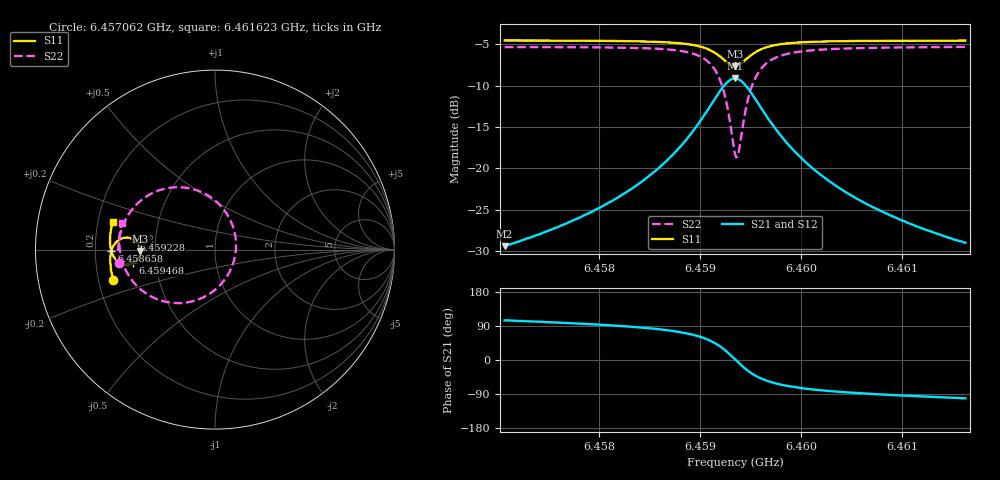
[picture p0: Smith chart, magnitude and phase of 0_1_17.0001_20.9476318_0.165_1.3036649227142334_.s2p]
#  HZ  S  RI  R  50.00
! Rohde & Schwarz Vector Network Analyzer
! Rohde-Schwarz,ZNB20-2Port,1311601062101988,3.16
! Created: UTC 3/20/2024, 10:52:01 PM
! freq[Hz]  re:S11  im:S11  re:S21  im:S21  re:S12  im:S12  re:S22  im:S22
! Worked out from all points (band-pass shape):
!   401 points, 6.457062 GHz to 6.461623 GHz, reference 50 ohm
!   highest |S21| = -9.14 dB at 6.459342 GHz (marker M1); lowest = -29.4 dB at 6.457062 GHz (marker M2)
!   |S21| within 3 dB of the highest: 6.459114 GHz to 6.45957 GHz (456.4 kHz wide, 0.00707 % of centre)
!   lowest |S11| = -7.6 dB at 6.459342 GHz (marker M3), VSWR 2.42, Z = 20.6 - j0.395 ohm
!   |S11| at or under -10 dB: nowhere
!   |S22| runs from -18.7 to -5.3 dB; largest |S21 - S12| = 0.014
!   S11 on the Smith chart (normalised r, x): 6.457062 GHz: 0.26, -0.13; 6.458658 GHz: 0.27, -0.01; 6.459228 GHz: 0.38, +0.05; 6.459468 GHz: 0.37, -0.07; 6.461623 GHz: 0.26, +0.12
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6.4570618e9  -0.5678 -0.167  -0.00853 0.0328  -0.00683 0.0328  -0.5344 -0.0769
6.4578258e9  -0.5811 -0.0998  -0.00499 0.051  -0.00249 0.0503  -0.5386 0.013
6.4582248e9  -0.5836 -0.0599  0.0006 0.0693  0.00376 0.0679  -0.5303 0.0761
6.4585897e9  -0.5795 -0.0163  0.0155 0.0996  0.0194 0.0968  -0.5027 0.158
6.4586581e9  -0.5771 -0.00675  0.0209 0.108  0.025 0.1047  -0.4924 0.1782
6.4588519e9  -0.5642 0.0237  0.048 0.1391  0.0519 0.134  -0.4414 0.247
6.4590002e9  -0.541 0.0499  0.094 0.1694  0.0969 0.1626  -0.3565 0.3107
6.459137e9  -0.4966 0.0671  0.1822 0.1852  0.183 0.1779  -0.1953 0.3476
6.4592282e9  -0.4515 0.0563  0.2728 0.1526  0.273 0.1469  -0.0281 0.2946
6.4592966e9  -0.4224 0.0236  0.3331 0.0794  0.3353 0.0742  0.0866 0.1624
6.4593422e9  -0.4155 -0.00792  0.3489 0.0107  0.3526 0.00376  0.1173 0.0337
6.4593536e9  -0.4161 -0.0161  0.3485 -0.00716  0.3525 -0.0148  0.1165 -0.000205
6.4593764e9  -0.4198 -0.0319  0.3427 -0.0421  0.3464 -0.0513  0.1043 -0.0664
6.459422e9  -0.4358 -0.0582  0.313 -0.1024  0.3153 -0.1144  0.0445 -0.1797
6.4594676e9  -0.458 -0.0745  0.2702 -0.1433  0.2692 -0.1567  -0.0423 -0.2539
6.4595589e9  -0.502 -0.0813  0.1841 -0.1739  0.1779 -0.1855  -0.2131 -0.298
6.4597071e9  -0.5462 -0.0606  0.0958 -0.159  0.087 -0.1652  -0.3812 -0.2462
6.4598667e9  -0.5679 -0.0328  0.0508 -0.1303  0.043 -0.1331  -0.4612 -0.1727
6.4601061e9  -0.5805 0.00281  0.0217 -0.0982  0.0159 -0.0988  -0.5085 -0.0893
6.4604596e9  -0.585 0.0451  0.00542 -0.0703  0.00138 -0.0699  -0.5296 -0.00757
6.4608701e9  -0.5829 0.0864  -0.00193 -0.0523  -0.00473 -0.0514  -0.5329 0.0585
6.4616226e9  -0.5707 0.153  -0.00681 -0.0349  -0.0085 -0.0338  -0.5208 0.1478
